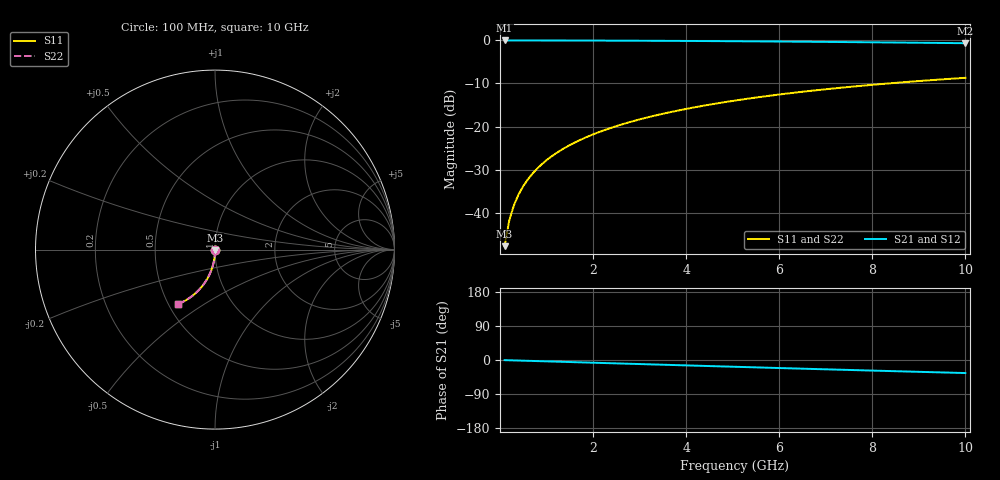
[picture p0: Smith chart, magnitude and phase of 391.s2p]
# Hz S RI R 50.00
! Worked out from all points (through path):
!   100 points, 100 MHz to 10 GHz, reference 50 ohm
!   highest |S21| = 0.00 dB at 100 MHz (marker M1); lowest = -0.6 dB at 10 GHz (marker M2)
!   group delay of S21, straight-line fit = 9.59 ps
!   lowest |S11| = -47.8 dB at 100 MHz (marker M3), VSWR 1.01, Z = 50 - j0.407 ohm
!   |S11| at or under -10 dB: start of sweep to 8.333 GHz
!   |S22| runs from -47.8 to -8.7 dB; largest |S21 - S12| = 0
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1e8  0.000348 -0.00407  0.9996 -0.00624  0.9996 -0.00624  0.000348 -0.00407
2e8  0.000269 -0.00813  0.9995 -0.0125  0.9995 -0.0125  0.000269 -0.00813
3e8  0.000139 -0.0122  0.9994 -0.0187  0.9994 -0.0187  0.000139 -0.0122
4e8  -4.18e-05 -0.0163  0.9992 -0.0249  0.9992 -0.0249  -4.18e-05 -0.0163
5e8  -0.000274 -0.0203  0.9989 -0.0312  0.9989 -0.0312  -0.000274 -0.0203
6e8  -0.000556 -0.0244  0.9986 -0.0374  0.9986 -0.0374  -0.000556 -0.0244
7e8  -0.00089 -0.0284  0.9982 -0.0436  0.9982 -0.0436  -0.00089 -0.0284
8e8  -0.00127 -0.0325  0.9978 -0.0499  0.9978 -0.0499  -0.00127 -0.0325
9e8  -0.00171 -0.0365  0.9973 -0.0561  0.9973 -0.0561  -0.00171 -0.0365
1.1e9  -0.00273 -0.0446  0.9962 -0.0685  0.9962 -0.0685  -0.00273 -0.0446
1.4e9  -0.00463 -0.0566  0.9941 -0.0871  0.9941 -0.0871  -0.00463 -0.0566
1.8e9  -0.00787 -0.0726  0.9906 -0.1117  0.9906 -0.1117  -0.00787 -0.0726
2.1e9  -0.0108 -0.0844  0.9873 -0.13  0.9873 -0.13  -0.0108 -0.0844
2.5e9  -0.0154 -0.0999  0.9823 -0.1543  0.9823 -0.1543  -0.0154 -0.0999
2.9e9  -0.0208 -0.1152  0.9764 -0.1783  0.9764 -0.1783  -0.0208 -0.1152
3.4e9  -0.0285 -0.1338  0.968 -0.2078  0.968 -0.2078  -0.0285 -0.1338
4.2e9  -0.0431 -0.1623  0.9519 -0.2539  0.9519 -0.2539  -0.0431 -0.1623
5.1e9  -0.0626 -0.1923  0.9303 -0.3037  0.9303 -0.3037  -0.0626 -0.1923
5.9e9  -0.0824 -0.2167  0.9084 -0.3458  0.9084 -0.3458  -0.0824 -0.2167
6.7e9  -0.1041 -0.2389  0.8842 -0.3858  0.8842 -0.3858  -0.1041 -0.2389
8.4e9  -0.1555 -0.2778  0.8263 -0.4628  0.8263 -0.4628  -0.1555 -0.2778
1e10  -0.2081 -0.3038  0.7661 -0.525  0.7661 -0.525  -0.2081 -0.3038
